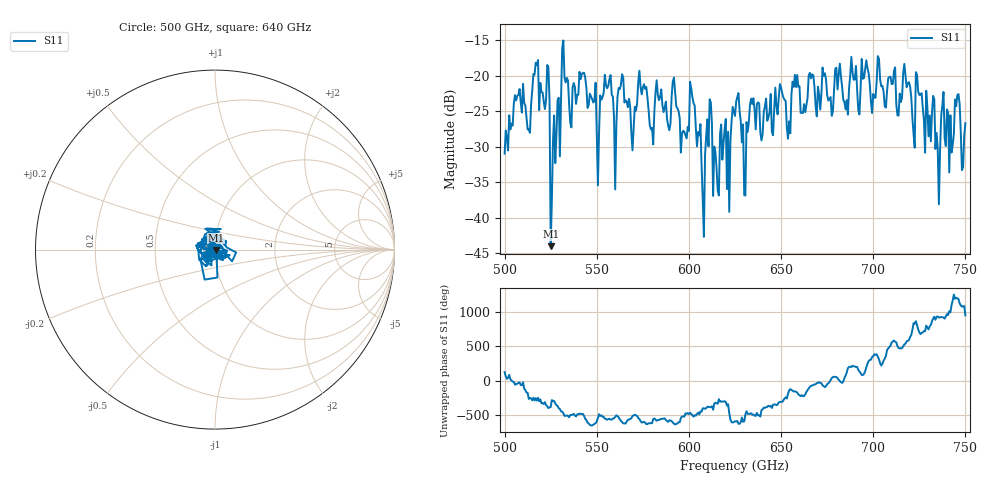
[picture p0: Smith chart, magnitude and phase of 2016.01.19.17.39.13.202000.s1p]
!Created with skrf (http://scikit-rf.org).
# GHz S RI R 50.0
!freq ReS11 ImS11
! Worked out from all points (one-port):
!   401 points, 500 GHz to 750 GHz, reference 50 ohm
!   lowest |S11| = -44.0 dB at 525 GHz (marker M1), VSWR 1.01, Z = 50.6 - j0.21 ohm
!   |S11| at or under -10 dB: start of sweep to end of sweep
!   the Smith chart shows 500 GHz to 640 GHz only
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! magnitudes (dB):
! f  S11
! 500 GHz  -31.0
! 506.9 GHz  -22.8
! 513.1 GHz  -27.6
! 516.9 GHz  -18.2
! 523.1 GHz  -18.5
! 525 GHz  -44.0
! 526.2 GHz  -29.2
! 531.2 GHz  -16.1
! 551.2 GHz  -27.9
! 562.5 GHz  -21.9
! 570 GHz  -27.5
! 573.8 GHz  -21.6
! 579.4 GHz  -27.6
! 593.8 GHz  -24.6
! 596.9 GHz  -27.8
! 601.9 GHz  -23.0
! 608.1 GHz  -42.7
! 610.6 GHz  -29.9
! 615 GHz  -33.0
! 625 GHz  -25.7
! 630 GHz  -36.8
! 634.4 GHz  -24.0
! 656.2 GHz  -20.8
! 687.5 GHz  -20.0
! 718.8 GHz  -21.1
! 735 GHz  -30.3
! 745.6 GHz  -22.7
! 750 GHz  -26.7
